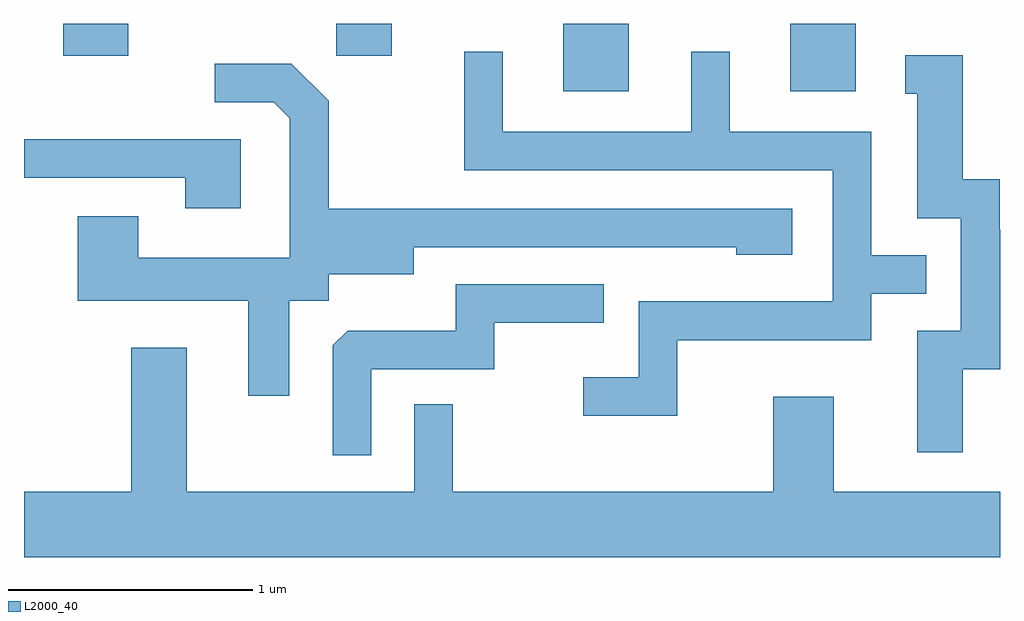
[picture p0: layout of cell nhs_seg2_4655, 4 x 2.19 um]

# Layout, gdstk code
import gdstk
lib = gdstk.Library(unit=1e-6, precision=1e-09)
def R(c, l, rs):  # rectangles x0, y0, x1, y1
    for r in rs: c.add(gdstk.rectangle(r[:2], r[2:], *l))
def P(c, l, *ps):  # polygons
    for p in ps: c.add(gdstk.Polygon(p, *l))
L2000_40 = (2000, 40)

nhs_seg2_4655 = lib.new_cell('nhs_seg2_4655')
R(nhs_seg2_4655, L2000_40, [(323.821,1083.526,324.089,1083.802), (324.751,1083.526,325.019,1083.802), (321.771,1083.671,322.039,1083.802), (322.891,1083.671,323.119,1083.802)])
P(nhs_seg2_4655, L2000_40, [(324.289,1082.506),(325.084,1082.506),(325.084,1082.696),(325.308,1082.696),(325.308,1082.854),(325.084,1082.854),(325.084,1083.359),(324.504,1083.359),(324.504,1083.688),(324.346,1083.688),(324.346,1083.359),(323.574,1083.359),(323.574,1083.688),(323.416,1083.688),(323.416,1083.201),(324.926,1083.201),(324.926,1082.664),(324.131,1082.664),(324.131,1082.354),(323.903,1082.354),(323.903,1082.196),(324.289,1082.196)],
  [(325.459,1082.386),(325.611,1082.386),(325.611,1082.959),(325.609,1082.959),(325.609,1083.164),(325.459,1083.164),(325.459,1083.674),(325.223,1083.674),(325.223,1083.516),(325.271,1083.516),(325.271,1083.006),(325.451,1083.006),(325.451,1082.544),(325.271,1082.544),(325.271,1082.046),(325.459,1082.046)],
  [(322.699,1082.666),(322.859,1082.666),(322.859,1082.776),(323.209,1082.776),(323.209,1082.886),(324.531,1082.886),(324.531,1082.856),(324.759,1082.856),(324.759,1083.044),(322.859,1083.044),(322.859,1083.487),(322.707,1083.639),(322.393,1083.639),(322.393,1083.481),(322.634,1083.481),(322.701,1083.414),(322.701,1082.844),(322.079,1082.844),(322.079,1083.014),(321.831,1083.014),(321.831,1082.666),(322.531,1082.666),(322.531,1082.278),(322.699,1082.278)],
  [(322.499,1083.329),(321.611,1083.329),(321.611,1083.171),(322.271,1083.171),(322.271,1083.046),(322.499,1083.046)],
  [(323.034,1082.386),(323.539,1082.386),(323.539,1082.576),(323.988,1082.576),(323.988,1082.734),(323.381,1082.734),(323.381,1082.544),(322.937,1082.544),(322.876,1082.484),(322.876,1082.033),(323.034,1082.033)],
  [(325.611,1081.884),(324.929,1081.884),(324.929,1082.274),(324.681,1082.274),(324.681,1081.884),(323.369,1081.884),(323.369,1082.243),(323.211,1082.243),(323.211,1081.884),(322.279,1081.884),(322.279,1082.474),(322.051,1082.474),(322.051,1081.884),(321.611,1081.884),(321.611,1081.616),(325.611,1081.616)])

lib.write_gds('nhs_seg2_4655.gds')
